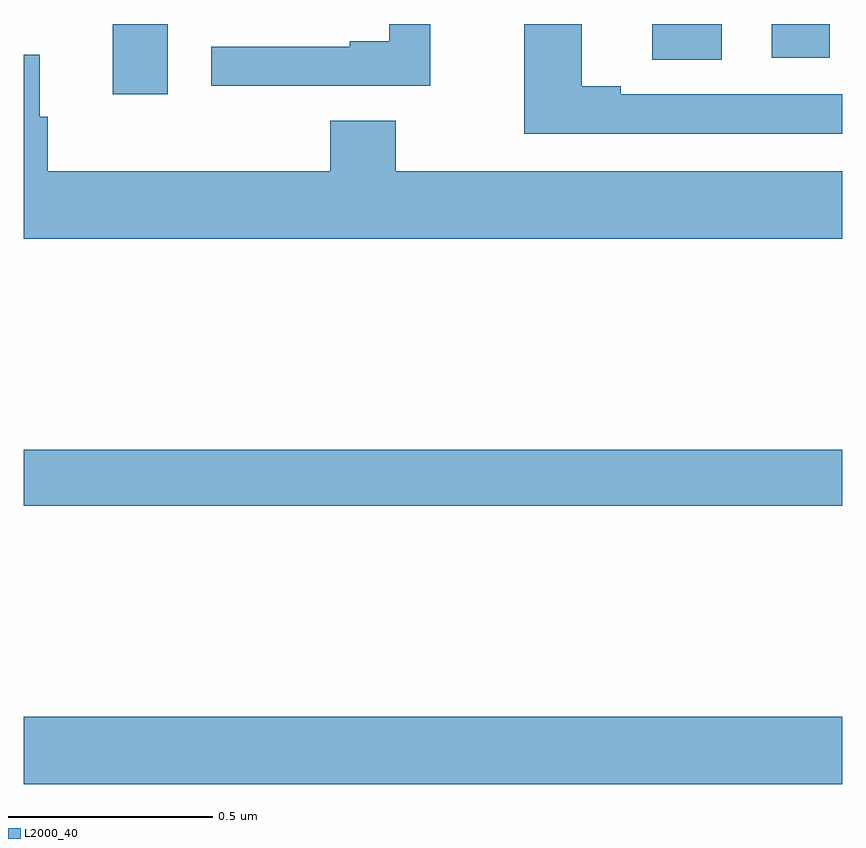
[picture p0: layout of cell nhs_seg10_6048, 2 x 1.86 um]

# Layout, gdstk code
import gdstk
lib = gdstk.Library(unit=1e-6, precision=1e-09)
def R(c, l, rs):  # rectangles x0, y0, x1, y1
    for r in rs: c.add(gdstk.rectangle(r[:2], r[2:], *l))
def P(c, l, *ps):  # polygons
    for p in ps: c.add(gdstk.Polygon(p, *l))
L2000_40 = (2000, 40)

nhs_seg10_6048 = lib.new_cell('nhs_seg10_6048')
R(nhs_seg10_6048, L2000_40, [(186,1305.644,188,1305.808), (186,1306.324,188,1306.46), (186.218,1307.328,186.352,1307.5), (187.535,1307.413,187.705,1307.5), (187.827,1307.418,187.969,1307.5)])
P(nhs_seg10_6048, L2000_40, [(188,1307.328),(187.459,1307.328),(187.459,1307.348),(187.363,1307.348),(187.363,1307.5),(187.223,1307.5),(187.223,1307.232),(188,1307.232)],
  [(186.993,1307.5),(186.893,1307.5),(186.893,1307.458),(186.797,1307.458),(186.797,1307.445),(186.459,1307.445),(186.459,1307.349),(186.993,1307.349)],
  [(188,1307.14),(186.909,1307.14),(186.909,1307.264),(186.749,1307.264),(186.749,1307.14),(186.059,1307.14),(186.059,1307.274),(186.04,1307.274),(186.04,1307.425),(186,1307.425),(186,1306.976),(188,1306.976)])

lib.write_gds('nhs_seg10_6048.gds')
